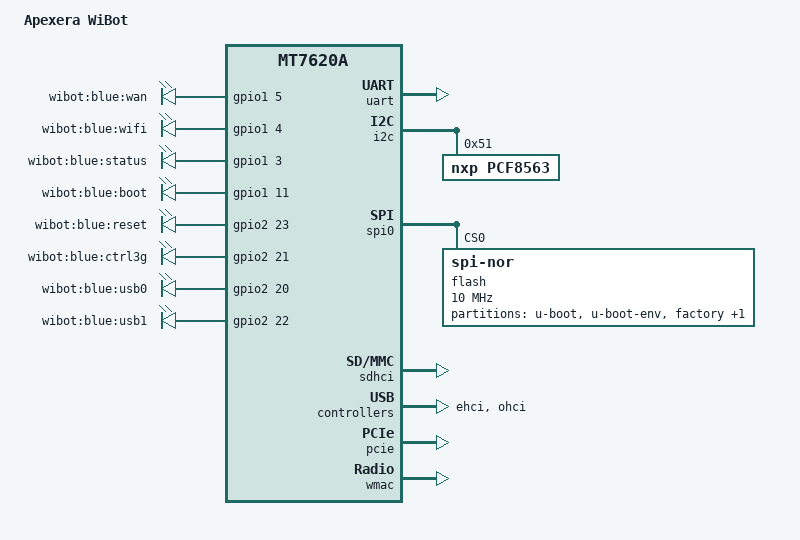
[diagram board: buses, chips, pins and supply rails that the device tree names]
/dts-v1/;

#include "mt7620a.dtsi"

#include <dt-bindings/gpio/gpio.h>
#include <dt-bindings/input/input.h>

/ {
	compatible = "apexera,wibot", "ralink,mt7620a-soc";
	model = "Apexera WiBot";

	chosen {
		bootargs = "console=ttyS1,57600";
	};

	aliases {
		led-boot = &led_boot;
		led-failsafe = &led_status;
		led-running = &led_status;
		led-upgrade = &led_status;
	};

	gpio-leds {
		compatible = "gpio-leds";

		wan {
			label = "wibot:blue:wan";
			gpios = <&gpio1 5 GPIO_ACTIVE_HIGH>;
		};

		wifi {
			label = "wibot:blue:wifi";
			gpios = <&gpio1 4 GPIO_ACTIVE_HIGH>;
		};

		led_status: status {
			label = "wibot:blue:status";
			gpios = <&gpio1 3 GPIO_ACTIVE_HIGH>;
		};

		led_boot: boot {
			label = "wibot:blue:boot";
			gpios = <&gpio1 11 GPIO_ACTIVE_HIGH>;
			default-state = "on";
		};

		reset {
			label = "wibot:blue:reset";
			gpios = <&gpio2 23 GPIO_ACTIVE_HIGH>;
		};

		ctrl3g {
			label = "wibot:blue:ctrl3g";
			gpios = <&gpio2 21 GPIO_ACTIVE_HIGH>;
		};

		usb0 {
			label = "wibot:blue:usb0";
			gpios = <&gpio2 20 GPIO_ACTIVE_HIGH>;
			trigger-sources = <&ohci_port1>, <&ehci_port1>;
			linux,default-trigger = "usbport";
		};

		usb1 {
			label = "wibot:blue:usb1";
			gpios = <&gpio2 22 GPIO_ACTIVE_HIGH>;
			trigger-sources = <&ohci_port1>, <&ehci_port1>;
			linux,default-trigger = "usbport";
		};
	};
};

&gpio1 {
	status = "okay";
};

&gpio2 {
	status = "okay";
};

&uart {
	status = "okay";
};

&i2c {
	status = "okay";

	pcf8563: rtc@51 {
		status = "okay";
		compatible = "nxp,pcf8563";
		reg = <0x51>;
	};
};

&spi0 {
	status = "okay";

	flash@0 {
		compatible = "jedec,spi-nor";
		reg = <0>;
		spi-max-frequency = <10000000>;

		partitions {
			compatible = "fixed-partitions";
			#address-cells = <1>;
			#size-cells = <1>;

			partition@0 {
				label = "u-boot";
				reg = <0x0 0x30000>;
				read-only;
			};

			partition@30000 {
				label = "u-boot-env";
				reg = <0x30000 0x10000>;
				read-only;
			};

			factory: partition@40000 {
				label = "factory";
				reg = <0x40000 0x10000>;
				read-only;
			};

			partition@50000 {
				compatible = "denx,uimage";
				label = "firmware";
				reg = <0x50000 0xfb0000>;
			};
		};
	};
};

&sdhci {
	status = "okay";
};

&ehci {
	status = "okay";
};

&ohci {
	status = "okay";
};

&pcie {
	status = "okay";
};

&ethernet {
	mtd-mac-address = <&factory 0x10>;
	ralink,port-map = "llllw";
};

&wmac {
	ralink,mtd-eeprom = <&factory 0>;
};

&pinctrl {
	state_default: pinctrl0 {
		gpio {
			ralink,group = "rgmii1", "rgmii2";
			ralink,function = "gpio";
		};

		uartf_gpio {
			ralink,group = "uartf";
			ralink,function = "gpio uartf";
		};
	};
};
